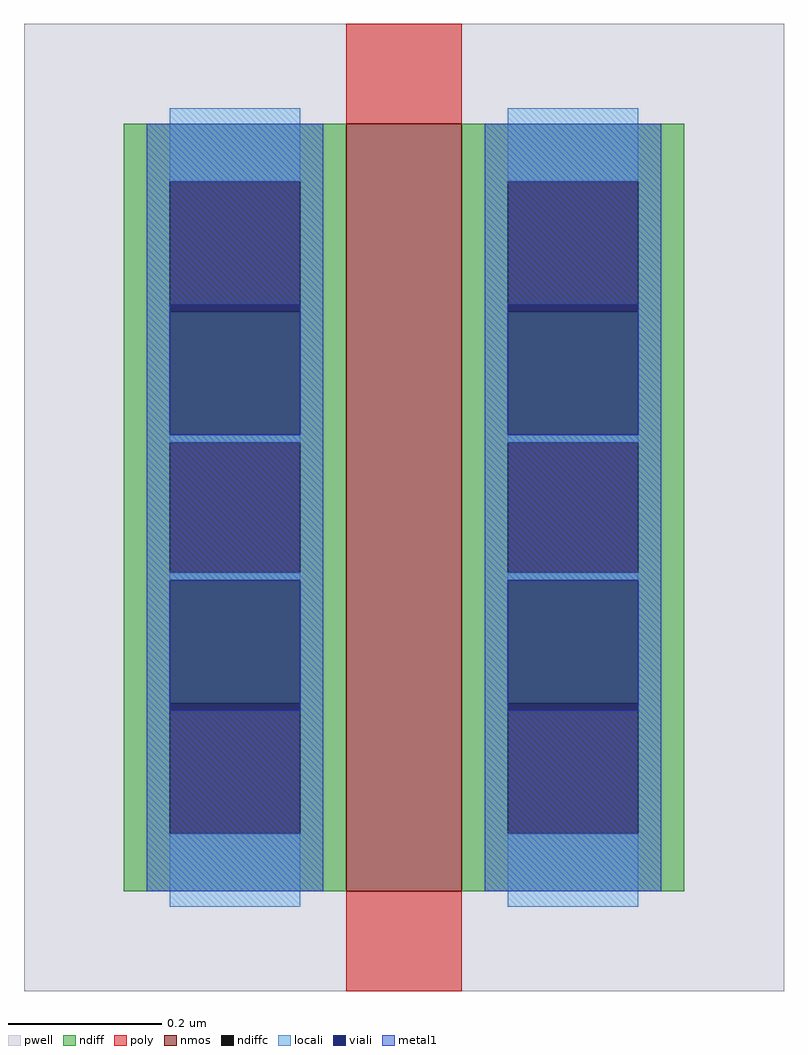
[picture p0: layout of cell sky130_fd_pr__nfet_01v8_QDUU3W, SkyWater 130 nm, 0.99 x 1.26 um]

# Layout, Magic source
magic
tech sky130A
magscale 1 2
<< pwell >>
rect -99 -126 99 126
<< nmos >>
rect -15 -100 15 100
<< ndiff >>
rect -73 85 -15 100
rect -73 51 -61 85
rect -27 51 -15 85
rect -73 17 -15 51
rect -73 -17 -61 17
rect -27 -17 -15 17
rect -73 -51 -15 -17
rect -73 -85 -61 -51
rect -27 -85 -15 -51
rect -73 -100 -15 -85
rect 15 85 73 100
rect 15 51 27 85
rect 61 51 73 85
rect 15 17 73 51
rect 15 -17 27 17
rect 61 -17 73 17
rect 15 -51 73 -17
rect 15 -85 27 -51
rect 61 -85 73 -51
rect 15 -100 73 -85
<< ndiffc >>
rect -61 51 -27 85
rect -61 -17 -27 17
rect -61 -85 -27 -51
rect 27 51 61 85
rect 27 -17 61 17
rect 27 -85 61 -51
<< poly >>
rect -15 100 15 126
rect -15 -126 15 -100
<< locali >>
rect -61 85 -27 104
rect -61 17 -27 19
rect -61 -19 -27 -17
rect -61 -104 -27 -85
rect 27 85 61 104
rect 27 17 61 19
rect 27 -19 61 -17
rect 27 -104 61 -85
<< viali >>
rect -61 51 -27 53
rect -61 19 -27 51
rect -61 -51 -27 -19
rect -61 -53 -27 -51
rect 27 51 61 53
rect 27 19 61 51
rect 27 -51 61 -19
rect 27 -53 61 -51
<< metal1 >>
rect -67 53 -21 100
rect -67 19 -61 53
rect -27 19 -21 53
rect -67 -19 -21 19
rect -67 -53 -61 -19
rect -27 -53 -21 -19
rect -67 -100 -21 -53
rect 21 53 67 100
rect 21 19 27 53
rect 61 19 67 53
rect 21 -19 67 19
rect 21 -53 27 -19
rect 61 -53 67 -19
rect 21 -100 67 -53
<< end >>
